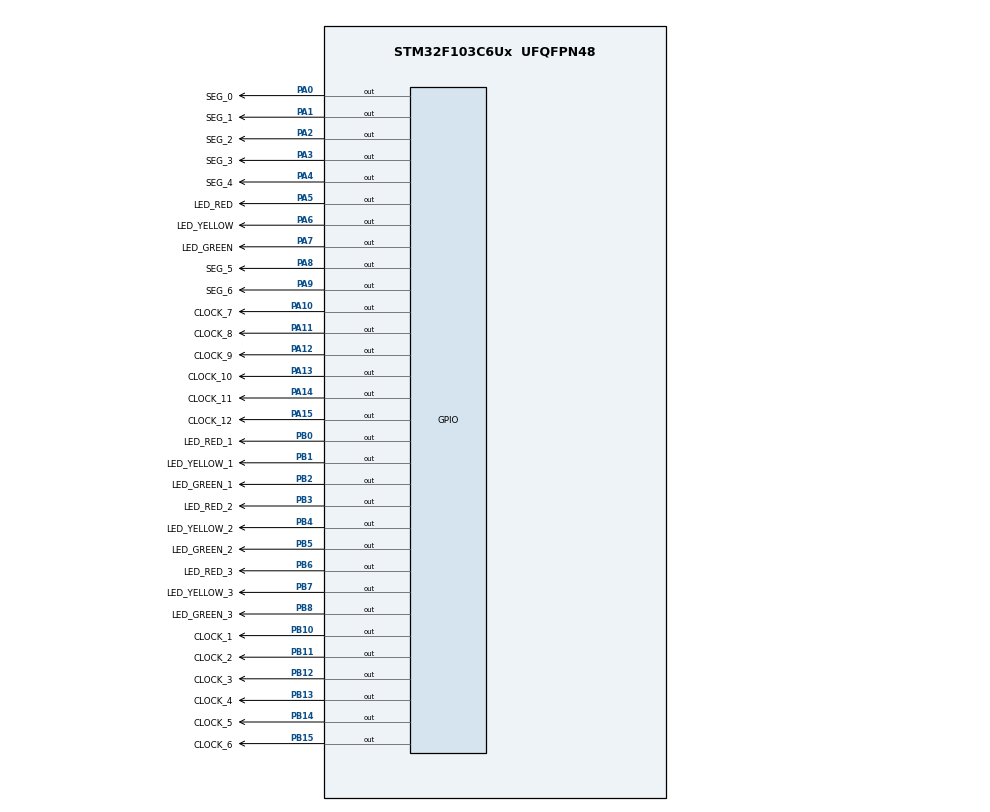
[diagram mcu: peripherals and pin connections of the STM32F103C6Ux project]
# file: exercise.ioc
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Mcu.Family=STM32F1
Mcu.Name=STM32F103C6Ux
Mcu.Package=UFQFPN48
NVIC.PriorityGroup=NVIC_PRIORITYGROUP_4
PA0-WKUP.GPIO_Label=SEG_0
PA0-WKUP.Signal=GPIO_Output
PA1.GPIO_Label=SEG_1
PA1.Signal=GPIO_Output
PA10.GPIO_Label=CLOCK_7
PA10.Signal=GPIO_Output
PA11.GPIO_Label=CLOCK_8
PA11.Signal=GPIO_Output
PA12.GPIO_Label=CLOCK_9
PA12.Signal=GPIO_Output
PA13.GPIO_Label=CLOCK_10
PA13.Signal=GPIO_Output
PA14.GPIO_Label=CLOCK_11
PA14.Signal=GPIO_Output
PA15.GPIO_Label=CLOCK_12
PA15.Signal=GPIO_Output
PA2.GPIO_Label=SEG_2
PA2.Signal=GPIO_Output
PA3.GPIO_Label=SEG_3
PA3.Signal=GPIO_Output
PA4.GPIO_Label=SEG_4
PA4.Signal=GPIO_Output
PA5.GPIO_Label=LED_RED
PA5.Signal=GPIO_Output
PA6.GPIO_Label=LED_YELLOW
PA6.Signal=GPIO_Output
PA7.GPIO_Label=LED_GREEN
PA7.Signal=GPIO_Output
PA8.GPIO_Label=SEG_5
PA8.Signal=GPIO_Output
PA9.GPIO_Label=SEG_6
PA9.Signal=GPIO_Output
PB0.GPIO_Label=LED_RED_1
PB0.Signal=GPIO_Output
PB1.GPIO_Label=LED_YELLOW_1
PB1.Signal=GPIO_Output
PB10.GPIO_Label=CLOCK_1
PB10.Signal=GPIO_Output
PB11.GPIO_Label=CLOCK_2
PB11.Signal=GPIO_Output
PB12.GPIO_Label=CLOCK_3
PB12.Signal=GPIO_Output
PB13.GPIO_Label=CLOCK_4
PB13.Signal=GPIO_Output
PB14.GPIO_Label=CLOCK_5
PB14.Signal=GPIO_Output
PB15.GPIO_Label=CLOCK_6
PB15.Signal=GPIO_Output
PB2.GPIO_Label=LED_GREEN_1
PB2.Signal=GPIO_Output
PB3.GPIO_Label=LED_RED_2
PB3.Signal=GPIO_Output
PB4.GPIO_Label=LED_YELLOW_2
PB4.Signal=GPIO_Output
PB5.GPIO_Label=LED_GREEN_2
PB5.Signal=GPIO_Output
PB6.GPIO_Label=LED_RED_3
PB6.Signal=GPIO_Output
PB7.GPIO_Label=LED_YELLOW_3
PB7.Signal=GPIO_Output
PB8.GPIO_Label=LED_GREEN_3
PB8.Signal=GPIO_Output
ProjectManager.HeapSize=0x200
ProjectManager.StackSize=0x400
ProjectManager.TargetToolchain=STM32CubeIDE
RCC.APB1Freq_Value=8000000
RCC.APB2Freq_Value=8000000
VP_SYS_VS_ND.Mode=No_Debug
board=custom

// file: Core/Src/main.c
/* USER CODE BEGIN Header */
/**
  ******************************************************************************
  * @file           : main.c
  * @brief          : Main program body
  ******************************************************************************
  * @attention
  *
  * <h2><center>&copy; Copyright (c) 2024 STMicroelectronics.
  * All rights reserved.</center></h2>
  *
  * This software component is licensed by ST under BSD 3-Clause license,
  * the "License"; You may not use this file except in compliance with the
  * License. You may obtain a copy of the License at:
  *                        opensource.org/licenses/BSD-3-Clause
  *
  ******************************************************************************
  */
/* USER CODE END Header */
#include "main.h"

void SystemClock_Config(void);
static void MX_GPIO_Init(void);

/* USER CODE BEGIN 0 */
void exercise1(){
	HAL_GPIO_TogglePin(LED_RED_GPIO_Port, LED_RED_Pin);
	HAL_Delay(2000);
	HAL_GPIO_TogglePin(LED_YELLOW_GPIO_Port, LED_YELLOW_Pin);
}

void exercise2(){
	//LED_RED
	HAL_GPIO_WritePin(LED_RED_GPIO_Port, LED_RED_Pin, SET);
	HAL_GPIO_WritePin(LED_YELLOW_GPIO_Port, LED_YELLOW_Pin, RESET);
	HAL_GPIO_WritePin(LED_GREEN_GPIO_Port, LED_GREEN_Pin, RESET);
	HAL_Delay(5000);

	//LED_YELLOW
	HAL_GPIO_WritePin(LED_RED_GPIO_Port, LED_RED_Pin, RESET);
	HAL_GPIO_WritePin(LED_YELLOW_GPIO_Port, LED_YELLOW_Pin, SET);
	HAL_GPIO_WritePin(LED_GREEN_GPIO_Port, LED_GREEN_Pin, RESET);
	HAL_Delay(2000);

	//LED_GREEN
	HAL_GPIO_WritePin(LED_RED_GPIO_Port, LED_RED_Pin, RESET);
	HAL_GPIO_WritePin(LED_YELLOW_GPIO_Port, LED_YELLOW_Pin, RESET);
	HAL_GPIO_WritePin(LED_GREEN_GPIO_Port, LED_GREEN_Pin, SET);
	HAL_Delay(3000);
}

void exercise3(){
	//LED_RED
	HAL_GPIO_WritePin(LED_RED_GPIO_Port, LED_RED_Pin, SET);
	HAL_GPIO_WritePin(LED_RED_1_GPIO_Port, LED_RED_1_Pin, SET);
	HAL_GPIO_WritePin(LED_RED_2_GPIO_Port, LED_RED_2_Pin, RESET);
	HAL_GPIO_WritePin(LED_RED_3_GPIO_Port, LED_RED_3_Pin, RESET);
	//YELLOW
	HAL_GPIO_WritePin(LED_YELLOW_GPIO_Port, LED_YELLOW_Pin, RESET);
	HAL_GPIO_WritePin(LED_YELLOW_1_GPIO_Port, LED_YELLOW_1_Pin, RESET);
	HAL_GPIO_WritePin(LED_YELLOW_2_GPIO_Port, LED_YELLOW_2_Pin, RESET);
	HAL_GPIO_WritePin(LED_YELLOW_3_GPIO_Port, LED_YELLOW_3_Pin, RESET);
	//GREEN
	HAL_GPIO_WritePin(LED_GREEN_GPIO_Port, LED_GREEN_Pin, RESET);
	HAL_GPIO_WritePin(LED_GREEN_1_GPIO_Port, LED_GREEN_1_Pin, RESET);
	HAL_GPIO_WritePin(LED_GREEN_2_GPIO_Port, LED_GREEN_2_Pin, RESET);
	HAL_GPIO_WritePin(LED_GREEN_3_GPIO_Port, LED_GREEN_3_Pin, RESET);
	HAL_Delay(5000);

	//RED
	HAL_GPIO_WritePin(LED_RED_GPIO_Port, LED_RED_Pin, RESET);
	HAL_GPIO_WritePin(LED_RED_1_GPIO_Port, LED_RED_1_Pin, RESET);
	HAL_GPIO_WritePin(LED_RED_2_GPIO_Port, LED_RED_2_Pin, RESET);
	HAL_GPIO_WritePin(LED_RED_3_GPIO_Port, LED_RED_3_Pin, RESET);
	//YELLOW
	HAL_GPIO_WritePin(LED_YELLOW_GPIO_Port, LED_YELLOW_Pin, SET);
	HAL_GPIO_WritePin(LED_YELLOW_1_GPIO_Port, LED_YELLOW_1_Pin, SET);
	HAL_GPIO_WritePin(LED_YELLOW_2_GPIO_Port, LED_YELLOW_2_Pin, RESET);
	HAL_GPIO_WritePin(LED_YELLOW_3_GPIO_Port, LED_YELLOW_3_Pin, RESET);
	//GREEN
	HAL_GPIO_WritePin(LED_GREEN_GPIO_Port, LED_GREEN_Pin, RESET);
	HAL_GPIO_WritePin(LED_GREEN_1_GPIO_Port, LED_GREEN_1_Pin, RESET);
	HAL_GPIO_WritePin(LED_GREEN_2_GPIO_Port, LED_GREEN_2_Pin, RESET);
	HAL_GPIO_WritePin(LED_GREEN_3_GPIO_Port, LED_GREEN_3_Pin, RESET);
	HAL_Delay(2000);

	//RED
	HAL_GPIO_WritePin(LED_RED_GPIO_Port, LED_RED_Pin, RESET);
	HAL_GPIO_WritePin(LED_RED_1_GPIO_Port, LED_RED_1_Pin, RESET);
	HAL_GPIO_WritePin(LED_RED_2_GPIO_Port, LED_RED_2_Pin, RESET);
	HAL_GPIO_WritePin(LED_RED_3_GPIO_Port, LED_RED_3_Pin, RESET);
	//YELLOW
	HAL_GPIO_WritePin(LED_YELLOW_GPIO_Port, LED_YELLOW_Pin, RESET);
	HAL_GPIO_WritePin(LED_YELLOW_1_GPIO_Port, LED_YELLOW_1_Pin, RESET);
	HAL_GPIO_WritePin(LED_YELLOW_2_GPIO_Port, LED_YELLOW_2_Pin, RESET);
	HAL_GPIO_WritePin(LED_YELLOW_3_GPIO_Port, LED_YELLOW_3_Pin, RESET);
	//GREEN
	HAL_GPIO_WritePin(LED_GREEN_GPIO_Port, LED_GREEN_Pin, SET);
	HAL_GPIO_WritePin(LED_GREEN_1_GPIO_Port, LED_GREEN_1_Pin, SET);
	HAL_GPIO_WritePin(LED_GREEN_2_GPIO_Port, LED_GREEN_2_Pin, RESET);
	HAL_GPIO_WritePin(LED_GREEN_3_GPIO_Port, LED_GREEN_3_Pin, RESET);
	HAL_Delay(3000);

	//LED_RED
	HAL_GPIO_WritePin(LED_RED_GPIO_Port, LED_RED_Pin, RESET);
	HAL_GPIO_WritePin(LED_RED_1_GPIO_Port, LED_RED_1_Pin, RESET);
	HAL_GPIO_WritePin(LED_RED_2_GPIO_Port, LED_RED_2_Pin, SET);
	HAL_GPIO_WritePin(LED_RED_3_GPIO_Port, LED_RED_3_Pin, SET);
	//YELLOW
	HAL_GPIO_WritePin(LED_YELLOW_GPIO_Port, LED_YELLOW_Pin, RESET);
	HAL_GPIO_WritePin(LED_YELLOW_1_GPIO_Port, LED_YELLOW_1_Pin, RESET);
	HAL_GPIO_WritePin(LED_YELLOW_2_GPIO_Port, LED_YELLOW_2_Pin, RESET);
	HAL_GPIO_WritePin(LED_YELLOW_3_GPIO_Port, LED_YELLOW_3_Pin, RESET);
	//GREEN
	HAL_GPIO_WritePin(LED_GREEN_GPIO_Port, LED_GREEN_Pin, RESET);
	HAL_GPIO_WritePin(LED_GREEN_1_GPIO_Port, LED_GREEN_1_Pin, RESET);
	HAL_GPIO_WritePin(LED_GREEN_2_GPIO_Port, LED_GREEN_2_Pin, RESET);
	HAL_GPIO_WritePin(LED_GREEN_3_GPIO_Port, LED_GREEN_3_Pin, RESET);
	HAL_Delay(5000);

	//RED
	HAL_GPIO_WritePin(LED_RED_GPIO_Port, LED_RED_Pin, RESET);
	HAL_GPIO_WritePin(LED_RED_1_GPIO_Port, LED_RED_1_Pin, RESET);
	HAL_GPIO_WritePin(LED_RED_2_GPIO_Port, LED_RED_2_Pin, RESET);
	HAL_GPIO_WritePin(LED_RED_3_GPIO_Port, LED_RED_3_Pin, RESET);
	//YELLOW
	HAL_GPIO_WritePin(LED_YELLOW_GPIO_Port, LED_YELLOW_Pin, RESET);
	HAL_GPIO_WritePin(LED_YELLOW_1_GPIO_Port, LED_YELLOW_1_Pin, RESET);
	HAL_GPIO_WritePin(LED_YELLOW_2_GPIO_Port, LED_YELLOW_2_Pin, SET);
	HAL_GPIO_WritePin(LED_YELLOW_3_GPIO_Port, LED_YELLOW_3_Pin, SET);
	//GREEN
	HAL_GPIO_WritePin(LED_GREEN_GPIO_Port, LED_GREEN_Pin, RESET);
	HAL_GPIO_WritePin(LED_GREEN_1_GPIO_Port, LED_GREEN_1_Pin, RESET);
	HAL_GPIO_WritePin(LED_GREEN_2_GPIO_Port, LED_GREEN_2_Pin, RESET);
	HAL_GPIO_WritePin(LED_GREEN_3_GPIO_Port, LED_GREEN_3_Pin, RESET);
	HAL_Delay(2000);

	//RED
	HAL_GPIO_WritePin(LED_RED_GPIO_Port, LED_RED_Pin, RESET);
	HAL_GPIO_WritePin(LED_RED_1_GPIO_Port, LED_RED_1_Pin, RESET);
	HAL_GPIO_WritePin(LED_RED_2_GPIO_Port, LED_RED_2_Pin, RESET);
	HAL_GPIO_WritePin(LED_RED_3_GPIO_Port, LED_RED_3_Pin, RESET);
	//YELLOW
	HAL_GPIO_WritePin(LED_YELLOW_GPIO_Port, LED_YELLOW_Pin, RESET);
	HAL_GPIO_WritePin(LED_YELLOW_1_GPIO_Port, LED_YELLOW_1_Pin, RESET);
	HAL_GPIO_WritePin(LED_YELLOW_2_GPIO_Port, LED_YELLOW_2_Pin, RESET);
	HAL_GPIO_WritePin(LED_YELLOW_3_GPIO_Port, LED_YELLOW_3_Pin, RESET);
	//GREEN
	HAL_GPIO_WritePin(LED_GREEN_GPIO_Port, LED_GREEN_Pin, RESET);
	HAL_GPIO_WritePin(LED_GREEN_1_GPIO_Port, LED_GREEN_1_Pin, RESET);
	HAL_GPIO_WritePin(LED_GREEN_2_GPIO_Port, LED_GREEN_2_Pin, SET);
	HAL_GPIO_WritePin(LED_GREEN_3_GPIO_Port, LED_GREEN_3_Pin, SET);
	HAL_Delay(3000);
}

void display7SEG(int num){
	switch(num){
	case 0:
		HAL_GPIO_WritePin(SEG_0_GPIO_Port, SEG_0_Pin, SET); //G
		HAL_GPIO_WritePin(SEG_1_GPIO_Port, SEG_1_Pin, RESET); //C
		HAL_GPIO_WritePin(SEG_2_GPIO_Port, SEG_2_Pin, RESET); //B
		HAL_GPIO_WritePin(SEG_3_GPIO_Port, SEG_3_Pin, RESET); //A
		HAL_GPIO_WritePin(SEG_4_GPIO_Port, SEG_4_Pin, RESET); //F
		HAL_GPIO_WritePin(SEG_5_GPIO_Port, SEG_5_Pin, RESET); //E
		HAL_GPIO_WritePin(SEG_6_GPIO_Port, SEG_6_Pin, RESET); //D
		break;
	case 1:
			HAL_GPIO_WritePin(SEG_0_GPIO_Port, SEG_0_Pin, SET);
			HAL_GPIO_WritePin(SEG_1_GPIO_Port, SEG_1_Pin, RESET);
			HAL_GPIO_WritePin(SEG_2_GPIO_Port, SEG_2_Pin, RESET);
			HAL_GPIO_WritePin(SEG_3_GPIO_Port, SEG_3_Pin, SET);
			HAL_GPIO_WritePin(SEG_4_GPIO_Port, SEG_4_Pin, SET);
			HAL_GPIO_WritePin(SEG_5_GPIO_Port, SEG_5_Pin, SET);
			HAL_GPIO_WritePin(SEG_6_GPIO_Port, SEG_6_Pin, SET);
			break;

	case 2:
			HAL_GPIO_WritePin(SEG_0_GPIO_Port, SEG_0_Pin, RESET); //G
			HAL_GPIO_WritePin(SEG_1_GPIO_Port, SEG_1_Pin, SET); //C
			HAL_GPIO_WritePin(SEG_2_GPIO_Port, SEG_2_Pin, RESET); //B
			HAL_GPIO_WritePin(SEG_3_GPIO_Port, SEG_3_Pin, RESET); //A
			HAL_GPIO_WritePin(SEG_4_GPIO_Port, SEG_4_Pin, SET); //F
			HAL_GPIO_WritePin(SEG_5_GPIO_Port, SEG_5_Pin, RESET); //E
			HAL_GPIO_WritePin(SEG_6_GPIO_Port, SEG_6_Pin, RESET); //D
			break;

	case 3:
			HAL_GPIO_WritePin(SEG_0_GPIO_Port, SEG_0_Pin, RESET);
			HAL_GPIO_WritePin(SEG_1_GPIO_Port, SEG_1_Pin, RESET);
			HAL_GPIO_WritePin(SEG_2_GPIO_Port, SEG_2_Pin, RESET);
			HAL_GPIO_WritePin(SEG_3_GPIO_Port, SEG_3_Pin, RESET);
			HAL_GPIO_WritePin(SEG_4_GPIO_Port, SEG_4_Pin, SET);
			HAL_GPIO_WritePin(SEG_5_GPIO_Port, SEG_5_Pin, SET);
			HAL_GPIO_WritePin(SEG_6_GPIO_Port, SEG_6_Pin, RESET);
			break;
	case 4:
			HAL_GPIO_WritePin(SEG_0_GPIO_Port, SEG_0_Pin, RESET); //G
			HAL_GPIO_WritePin(SEG_1_GPIO_Port, SEG_1_Pin, RESET); //C
			HAL_GPIO_WritePin(SEG_2_GPIO_Port, SEG_2_Pin, RESET); //B
			HAL_GPIO_WritePin(SEG_3_GPIO_Port, SEG_3_Pin, SET); //A
			HAL_GPIO_WritePin(SEG_4_GPIO_Port, SEG_4_Pin, RESET); //F
			HAL_GPIO_WritePin(SEG_5_GPIO_Port, SEG_5_Pin, SET); //E
			HAL_GPIO_WritePin(SEG_6_GPIO_Port, SEG_6_Pin, SET); //D
			break;
	case 5:
			HAL_GPIO_WritePin(SEG_0_GPIO_Port, SEG_0_Pin, RESET); //G
			HAL_GPIO_WritePin(SEG_1_GPIO_Port, SEG_1_Pin, RESET); //C
			HAL_GPIO_WritePin(SEG_2_GPIO_Port, SEG_2_Pin, SET); //B
			HAL_GPIO_WritePin(SEG_3_GPIO_Port, SEG_3_Pin, RESET); //A
			HAL_GPIO_WritePin(SEG_4_GPIO_Port, SEG_4_Pin, RESET); //F
			HAL_GPIO_WritePin(SEG_5_GPIO_Port, SEG_5_Pin, SET); //E
			HAL_GPIO_WritePin(SEG_6_GPIO_Port, SEG_6_Pin, RESET); //D
			break;
	case 6:
			HAL_GPIO_WritePin(SEG_0_GPIO_Port, SEG_0_Pin, RESET); //G
			HAL_GPIO_WritePin(SEG_1_GPIO_Port, SEG_1_Pin, RESET); //C
			HAL_GPIO_WritePin(SEG_2_GPIO_Port, SEG_2_Pin, SET); //B
			HAL_GPIO_WritePin(SEG_3_GPIO_Port, SEG_3_Pin, RESET); //A
			HAL_GPIO_WritePin(SEG_4_GPIO_Port, SEG_4_Pin, RESET); //F
			HAL_GPIO_WritePin(SEG_5_GPIO_Port, SEG_5_Pin, RESET); //E
			HAL_GPIO_WritePin(SEG_6_GPIO_Port, SEG_6_Pin, RESET); //D
			break;
	case 7:
			HAL_GPIO_WritePin(SEG_0_GPIO_Port, SEG_0_Pin, SET); //G
			HAL_GPIO_WritePin(SEG_1_GPIO_Port, SEG_1_Pin, RESET); //C
			HAL_GPIO_WritePin(SEG_2_GPIO_Port, SEG_2_Pin, RESET); //B
			HAL_GPIO_WritePin(SEG_3_GPIO_Port, SEG_3_Pin, RESET); //A
			HAL_GPIO_WritePin(SEG_4_GPIO_Port, SEG_4_Pin, SET); //F
			HAL_GPIO_WritePin(SEG_5_GPIO_Port, SEG_5_Pin, SET); //E
			HAL_GPIO_WritePin(SEG_6_GPIO_Port, SEG_6_Pin, SET); //D
			break;
	case 8:
			HAL_GPIO_WritePin(SEG_0_GPIO_Port, SEG_0_Pin, RESET); //G
			HAL_GPIO_WritePin(SEG_1_GPIO_Port, SEG_1_Pin, RESET); //C
			HAL_GPIO_WritePin(SEG_2_GPIO_Port, SEG_2_Pin, RESET); //B
			HAL_GPIO_WritePin(SEG_3_GPIO_Port, SEG_3_Pin, RESET); //A
			HAL_GPIO_WritePin(SEG_4_GPIO_Port, SEG_4_Pin, RESET); //F
			HAL_GPIO_WritePin(SEG_5_GPIO_Port, SEG_5_Pin, RESET); //E
			HAL_GPIO_WritePin(SEG_6_GPIO_Port, SEG_6_Pin, RESET); //D
			break;
	case 9:
			HAL_GPIO_WritePin(SEG_0_GPIO_Port, SEG_0_Pin, RESET); //G
			HAL_GPIO_WritePin(SEG_1_GPIO_Port, SEG_1_Pin, RESET); //C
			HAL_GPIO_WritePin(SEG_2_GPIO_Port, SEG_2_Pin, RESET); //B
			HAL_GPIO_WritePin(SEG_3_GPIO_Port, SEG_3_Pin, RESET); //A
			HAL_GPIO_WritePin(SEG_4_GPIO_Port, SEG_4_Pin, RESET); //F
			HAL_GPIO_WritePin(SEG_5_GPIO_Port, SEG_5_Pin, SET); //E
			HAL_GPIO_WritePin(SEG_6_GPIO_Port, SEG_6_Pin, RESET); //D
			break;
	default:
		HAL_GPIO_WritePin(SEG_0_GPIO_Port, SEG_0_Pin, SET);
		HAL_GPIO_WritePin(SEG_1_GPIO_Port, SEG_1_Pin, SET);
		HAL_GPIO_WritePin(SEG_2_GPIO_Port, SEG_2_Pin, SET);
		HAL_GPIO_WritePin(SEG_3_GPIO_Port, SEG_3_Pin, SET);
		HAL_GPIO_WritePin(SEG_4_GPIO_Port, SEG_4_Pin, SET);
		HAL_GPIO_WritePin(SEG_5_GPIO_Port, SEG_5_Pin, SET);
		HAL_GPIO_WritePin(SEG_6_GPIO_Port, SEG_6_Pin, SET);
		break;
	}
}

void display7Segcountdown(int num){
	switch(num){
		case 9:
				HAL_GPIO_WritePin(SEG_0_GPIO_Port, SEG_0_Pin, RESET); //G
				HAL_GPIO_WritePin(SEG_1_GPIO_Port, SEG_1_Pin, RESET); //C
				HAL_GPIO_WritePin(SEG_2_GPIO_Port, SEG_2_Pin, RESET); //B
				HAL_GPIO_WritePin(SEG_3_GPIO_Port, SEG_3_Pin, RESET); //A
				HAL_GPIO_WritePin(SEG_4_GPIO_Port, SEG_4_Pin, RESET); //F
				HAL_GPIO_WritePin(SEG_5_GPIO_Port, SEG_5_Pin, SET); //E
				HAL_GPIO_WritePin(SEG_6_GPIO_Port, SEG_6_Pin, RESET); //D
				break;

		case 8:
				HAL_GPIO_WritePin(SEG_0_GPIO_Port, SEG_0_Pin, RESET); //G
				HAL_GPIO_WritePin(SEG_1_GPIO_Port, SEG_1_Pin, RESET); //C
				HAL_GPIO_WritePin(SEG_2_GPIO_Port, SEG_2_Pin, RESET); //B
				HAL_GPIO_WritePin(SEG_3_GPIO_Port, SEG_3_Pin, RESET); //A
				HAL_GPIO_WritePin(SEG_4_GPIO_Port, SEG_4_Pin, RESET); //F
				HAL_GPIO_WritePin(SEG_5_GPIO_Port, SEG_5_Pin, RESET); //E
				HAL_GPIO_WritePin(SEG_6_GPIO_Port, SEG_6_Pin, RESET); //D
				break;
		case 7:
				HAL_GPIO_WritePin(SEG_0_GPIO_Port, SEG_0_Pin, SET); //G
				HAL_GPIO_WritePin(SEG_1_GPIO_Port, SEG_1_Pin, RESET); //C
				HAL_GPIO_WritePin(SEG_2_GPIO_Port, SEG_2_Pin, RESET); //B
				HAL_GPIO_WritePin(SEG_3_GPIO_Port, SEG_3_Pin, RESET); //A
				HAL_GPIO_WritePin(SEG_4_GPIO_Port, SEG_4_Pin, SET); //F
				HAL_GPIO_WritePin(SEG_5_GPIO_Port, SEG_5_Pin, SET); //E
				HAL_GPIO_WritePin(SEG_6_GPIO_Port, SEG_6_Pin, SET); //D
				break;
		case 6:
				HAL_GPIO_WritePin(SEG_0_GPIO_Port, SEG_0_Pin, RESET); //G
				HAL_GPIO_WritePin(SEG_1_GPIO_Port, SEG_1_Pin, RESET); //C
				HAL_GPIO_WritePin(SEG_2_GPIO_Port, SEG_2_Pin, SET); //B
				HAL_GPIO_WritePin(SEG_3_GPIO_Port, SEG_3_Pin, RESET); //A
				HAL_GPIO_WritePin(SEG_4_GPIO_Port, SEG_4_Pin, RESET); //F
				HAL_GPIO_WritePin(SEG_5_GPIO_Port, SEG_5_Pin, RESET); //E
				HAL_GPIO_WritePin(SEG_6_GPIO_Port, SEG_6_Pin, RESET); //D
				break;
		case 5:
				HAL_GPIO_WritePin(SEG_0_GPIO_Port, SEG_0_Pin, RESET); //G
				HAL_GPIO_WritePin(SEG_1_GPIO_Port, SEG_1_Pin, RESET); //C
				HAL_GPIO_WritePin(SEG_2_GPIO_Port, SEG_2_Pin, SET); //B
				HAL_GPIO_WritePin(SEG_3_GPIO_Port, SEG_3_Pin, RESET); //A
				HAL_GPIO_WritePin(SEG_4_GPIO_Port, SEG_4_Pin, RESET); //F
				HAL_GPIO_WritePin(SEG_5_GPIO_Port, SEG_5_Pin, SET); //E
				HAL_GPIO_WritePin(SEG_6_GPIO_Port, SEG_6_Pin, RESET); //D
				break;
		case 4:
				HAL_GPIO_WritePin(SEG_0_GPIO_Port, SEG_0_Pin, RESET); //G
				HAL_GPIO_WritePin(SEG_1_GPIO_Port, SEG_1_Pin, RESET); //C
				HAL_GPIO_WritePin(SEG_2_GPIO_Port, SEG_2_Pin, RESET); //B
				HAL_GPIO_WritePin(SEG_3_GPIO_Port, SEG_3_Pin, SET); //A
				HAL_GPIO_WritePin(SEG_4_GPIO_Port, SEG_4_Pin, RESET); //F
				HAL_GPIO_WritePin(SEG_5_GPIO_Port, SEG_5_Pin, SET); //E
				HAL_GPIO_WritePin(SEG_6_GPIO_Port, SEG_6_Pin, SET); //D
				break;
		case 3:
				HAL_GPIO_WritePin(SEG_0_GPIO_Port, SEG_0_Pin, RESET);
				HAL_GPIO_WritePin(SEG_1_GPIO_Port, SEG_1_Pin, RESET);
				HAL_GPIO_WritePin(SEG_2_GPIO_Port, SEG_2_Pin, RESET);
				HAL_GPIO_WritePin(SEG_3_GPIO_Port, SEG_3_Pin, RESET);
				HAL_GPIO_WritePin(SEG_4_GPIO_Port, SEG_4_Pin, SET);
				HAL_GPIO_WritePin(SEG_5_GPIO_Port, SEG_5_Pin, SET);
				HAL_GPIO_WritePin(SEG_6_GPIO_Port, SEG_6_Pin, RESET);
				break;
		case 2:
				HAL_GPIO_WritePin(SEG_0_GPIO_Port, SEG_0_Pin, RESET); //G
				HAL_GPIO_WritePin(SEG_1_GPIO_Port, SEG_1_Pin, SET); //C
				HAL_GPIO_WritePin(SEG_2_GPIO_Port, SEG_2_Pin, RESET); //B
				HAL_GPIO_WritePin(SEG_3_GPIO_Port, SEG_3_Pin, RESET); //A
				HAL_GPIO_WritePin(SEG_4_GPIO_Port, SEG_4_Pin, SET); //F
				HAL_GPIO_WritePin(SEG_5_GPIO_Port, SEG_5_Pin, RESET); //E
				HAL_GPIO_WritePin(SEG_6_GPIO_Port, SEG_6_Pin, RESET); //D
				break;
		case 1:
				HAL_GPIO_WritePin(SEG_0_GPIO_Port, SEG_0_Pin, SET);
				HAL_GPIO_WritePin(SEG_1_GPIO_Port, SEG_1_Pin, RESET);
				HAL_GPIO_WritePin(SEG_2_GPIO_Port, SEG_2_Pin, RESET);
				HAL_GPIO_WritePin(SEG_3_GPIO_Port, SEG_3_Pin, SET);
				HAL_GPIO_WritePin(SEG_4_GPIO_Port, SEG_4_Pin, SET);
				HAL_GPIO_WritePin(SEG_5_GPIO_Port, SEG_5_Pin, SET);
				HAL_GPIO_WritePin(SEG_6_GPIO_Port, SEG_6_Pin, SET);
				break;
		case 0:
				HAL_GPIO_WritePin(SEG_0_GPIO_Port, SEG_0_Pin, SET); //G
				HAL_GPIO_WritePin(SEG_1_GPIO_Port, SEG_1_Pin, RESET); //C
				HAL_GPIO_WritePin(SEG_2_GPIO_Port, SEG_2_Pin, RESET); //B
				HAL_GPIO_WritePin(SEG_3_GPIO_Port, SEG_3_Pin, RESET); //A
				HAL_GPIO_WritePin(SEG_4_GPIO_Port, SEG_4_Pin, RESET); //F
				HAL_GPIO_WritePin(SEG_5_GPIO_Port, SEG_5_Pin, RESET); //E
				HAL_GPIO_WritePin(SEG_6_GPIO_Port, SEG_6_Pin, RESET); //D
			break;

	default:
		HAL_GPIO_WritePin(SEG_0_GPIO_Port, SEG_0_Pin, SET);
		HAL_GPIO_WritePin(SEG_1_GPIO_Port, SEG_1_Pin, SET);
		HAL_GPIO_WritePin(SEG_2_GPIO_Port, SEG_2_Pin, SET);
		HAL_GPIO_WritePin(SEG_3_GPIO_Port, SEG_3_Pin, SET);
		HAL_GPIO_WritePin(SEG_4_GPIO_Port, SEG_4_Pin, SET);
		HAL_GPIO_WritePin(SEG_5_GPIO_Port, SEG_5_Pin, SET);
		HAL_GPIO_WritePin(SEG_6_GPIO_Port, SEG_6_Pin, SET);
		break;
	}
}

void exercise5(){
	for(int i=5; i>=0; i--){
		display7SEG(i);
		//LED_RED
		HAL_GPIO_WritePin(LED_RED_GPIO_Port, LED_RED_Pin, SET);
		HAL_GPIO_WritePin(LED_RED_1_GPIO_Port, LED_RED_1_Pin, SET);
		HAL_GPIO_WritePin(LED_RED_2_GPIO_Port, LED_RED_2_Pin, RESET);
		HAL_GPIO_WritePin(LED_RED_3_GPIO_Port, LED_RED_3_Pin, RESET);
		//YELLOW
		HAL_GPIO_WritePin(LED_YELLOW_GPIO_Port, LED_YELLOW_Pin, RESET);
		HAL_GPIO_WritePin(LED_YELLOW_1_GPIO_Port, LED_YELLOW_1_Pin, RESET);
		HAL_GPIO_WritePin(LED_YELLOW_2_GPIO_Port, LED_YELLOW_2_Pin, RESET);
		HAL_GPIO_WritePin(LED_YELLOW_3_GPIO_Port, LED_YELLOW_3_Pin, RESET);
		//GREEN
		HAL_GPIO_WritePin(LED_GREEN_GPIO_Port, LED_GREEN_Pin, RESET);
		HAL_GPIO_WritePin(LED_GREEN_1_GPIO_Port, LED_GREEN_1_Pin, RESET);
		HAL_GPIO_WritePin(LED_GREEN_2_GPIO_Port, LED_GREEN_2_Pin, SET);
		HAL_GPIO_WritePin(LED_GREEN_3_GPIO_Port, LED_GREEN_3_Pin, SET);
		if(i<3){
			//LED_RED
			HAL_GPIO_WritePin(LED_RED_GPIO_Port, LED_RED_Pin, SET);
			HAL_GPIO_WritePin(LED_RED_1_GPIO_Port, LED_RED_1_Pin, SET);
			HAL_GPIO_WritePin(LED_RED_2_GPIO_Port, LED_RED_2_Pin, RESET);
			HAL_GPIO_WritePin(LED_RED_3_GPIO_Port, LED_RED_3_Pin, RESET);
			//YELLOW
			HAL_GPIO_WritePin(LED_YELLOW_GPIO_Port, LED_YELLOW_Pin, RESET);
			HAL_GPIO_WritePin(LED_YELLOW_1_GPIO_Port, LED_YELLOW_1_Pin, RESET);
			HAL_GPIO_WritePin(LED_YELLOW_2_GPIO_Port, LED_YELLOW_2_Pin, SET);
			HAL_GPIO_WritePin(LED_YELLOW_3_GPIO_Port, LED_YELLOW_3_Pin, SET);
			//GREEN
			HAL_GPIO_WritePin(LED_GREEN_GPIO_Port, LED_GREEN_Pin, RESET);
			HAL_GPIO_WritePin(LED_GREEN_1_GPIO_Port, LED_GREEN_1_Pin, RESET);
			HAL_GPIO_WritePin(LED_GREEN_2_GPIO_Port, LED_GREEN_2_Pin, RESET);
			HAL_GPIO_WritePin(LED_GREEN_3_GPIO_Port, LED_GREEN_3_Pin, RESET);
		}
		HAL_Delay(1000);
	}

//	for(int i=3; i>=0; i--){
//		display7SEG(i);
//		//RED
//		HAL_GPIO_WritePin(LED_RED_GPIO_Port, LED_RED_Pin, RESET);
//		HAL_GPIO_WritePin(LED_RED_1_GPIO_Port, LED_RED_1_Pin, RESET);
//		HAL_GPIO_WritePin(LED_RED_2_GPIO_Port, LED_RED_2_Pin, SET);
//		HAL_GPIO_WritePin(LED_RED_3_GPIO_Port, LED_RED_3_Pin, SET);
//		//YELLOW
//		HAL_GPIO_WritePin(LED_YELLOW_GPIO_Port, LED_YELLOW_Pin, RESET);
//		HAL_GPIO_WritePin(LED_YELLOW_1_GPIO_Port, LED_YELLOW_1_Pin, RESET);
//		HAL_GPIO_WritePin(LED_YELLOW_2_GPIO_Port, LED_YELLOW_2_Pin, RESET);
//		HAL_GPIO_WritePin(LED_YELLOW_3_GPIO_Port, LED_YELLOW_3_Pin, RESET);
//		//GREEN
//		HAL_GPIO_WritePin(LED_GREEN_GPIO_Port, LED_GREEN_Pin, SET);
//		HAL_GPIO_WritePin(LED_GREEN_1_GPIO_Port, LED_GREEN_1_Pin, SET);
//		HAL_GPIO_WritePin(LED_GREEN_2_GPIO_Port, LED_GREEN_2_Pin, RESET);
//		HAL_GPIO_WritePin(LED_GREEN_3_GPIO_Port, LED_GREEN_3_Pin, RESET);
//		HAL_Delay(1000);
//	}

	for(int i=5; i>=0; i--){
		display7SEG(i);
		//LED_RED
		HAL_GPIO_WritePin(LED_RED_GPIO_Port, LED_RED_Pin, RESET);
		HAL_GPIO_WritePin(LED_RED_1_GPIO_Port, LED_RED_1_Pin, RESET);
		HAL_GPIO_WritePin(LED_RED_2_GPIO_Port, LED_RED_2_Pin, SET);
		HAL_GPIO_WritePin(LED_RED_3_GPIO_Port, LED_RED_3_Pin, SET);
		//YELLOW
		HAL_GPIO_WritePin(LED_YELLOW_GPIO_Port, LED_YELLOW_Pin, RESET);
		HAL_GPIO_WritePin(LED_YELLOW_1_GPIO_Port, LED_YELLOW_1_Pin, RESET);
		HAL_GPIO_WritePin(LED_YELLOW_2_GPIO_Port, LED_YELLOW_2_Pin, RESET);
		HAL_GPIO_WritePin(LED_YELLOW_3_GPIO_Port, LED_YELLOW_3_Pin, RESET);
		//GREEN
		HAL_GPIO_WritePin(LED_GREEN_GPIO_Port, LED_GREEN_Pin, SET);
		HAL_GPIO_WritePin(LED_GREEN_1_GPIO_Port, LED_GREEN_1_Pin, SET);
		HAL_GPIO_WritePin(LED_GREEN_2_GPIO_Port, LED_GREEN_2_Pin, RESET);
		HAL_GPIO_WritePin(LED_GREEN_3_GPIO_Port, LED_GREEN_3_Pin, RESET);

		if(i<3){
			//LED_RED
					HAL_GPIO_WritePin(LED_RED_GPIO_Port, LED_RED_Pin, RESET);
					HAL_GPIO_WritePin(LED_RED_1_GPIO_Port, LED_RED_1_Pin, RESET);
					HAL_GPIO_WritePin(LED_RED_2_GPIO_Port, LED_RED_2_Pin, SET);
					HAL_GPIO_WritePin(LED_RED_3_GPIO_Port, LED_RED_3_Pin, SET);
					//YELLOW
					HAL_GPIO_WritePin(LED_YELLOW_GPIO_Port, LED_YELLOW_Pin, SET);
					HAL_GPIO_WritePin(LED_YELLOW_1_GPIO_Port, LED_YELLOW_1_Pin, SET);
					HAL_GPIO_WritePin(LED_YELLOW_2_GPIO_Port, LED_YELLOW_2_Pin, RESET);
					HAL_GPIO_WritePin(LED_YELLOW_3_GPIO_Port, LED_YELLOW_3_Pin, RESET);
					//GREEN
					HAL_GPIO_WritePin(LED_GREEN_GPIO_Port, LED_GREEN_Pin, RESET);
					HAL_GPIO_WritePin(LED_GREEN_1_GPIO_Port, LED_GREEN_1_Pin, RESET);
					HAL_GPIO_WritePin(LED_GREEN_2_GPIO_Port, LED_GREEN_2_Pin, RESET);
					HAL_GPIO_WritePin(LED_GREEN_3_GPIO_Port, LED_GREEN_3_Pin, RESET);
		}

		HAL_Delay(1000);
	}

//	for(int i=3; i>=0; i--){
//		display7SEG(i);
//		//RED
//		HAL_GPIO_WritePin(LED_RED_GPIO_Port, LED_RED_Pin, SET);
//		HAL_GPIO_WritePin(LED_RED_1_GPIO_Port, LED_RED_1_Pin, SET);
//		HAL_GPIO_WritePin(LED_RED_2_GPIO_Port, LED_RED_2_Pin, RESET);
//		HAL_GPIO_WritePin(LED_RED_3_GPIO_Port, LED_RED_3_Pin, RESET);
//		//YELLOW
//		HAL_GPIO_WritePin(LED_YELLOW_GPIO_Port, LED_YELLOW_Pin, RESET);
//		HAL_GPIO_WritePin(LED_YELLOW_1_GPIO_Port, LED_YELLOW_1_Pin, RESET);
//		HAL_GPIO_WritePin(LED_YELLOW_2_GPIO_Port, LED_YELLOW_2_Pin, RESET);
//		HAL_GPIO_WritePin(LED_YELLOW_3_GPIO_Port, LED_YELLOW_3_Pin, RESET);
//		//GREEN
//		HAL_GPIO_WritePin(LED_GREEN_GPIO_Port, LED_GREEN_Pin, RESET);
//		HAL_GPIO_WritePin(LED_GREEN_1_GPIO_Port, LED_GREEN_1_Pin, RESET);
//		HAL_GPIO_WritePin(LED_GREEN_2_GPIO_Port, LED_GREEN_2_Pin, SET);
//		HAL_GPIO_WritePin(LED_GREEN_3_GPIO_Port, LED_GREEN_3_Pin, SET);
//		HAL_Delay(1000);
//	}
}

void clearAllClock(){
	HAL_GPIO_WritePin(CLOCK_1_GPIO_Port, CLOCK_1_Pin, RESET);
	HAL_GPIO_WritePin(CLOCK_2_GPIO_Port, CLOCK_2_Pin, RESET);
	HAL_GPIO_WritePin(CLOCK_3_GPIO_Port, CLOCK_3_Pin, RESET);
	HAL_GPIO_WritePin(CLOCK_4_GPIO_Port, CLOCK_4_Pin, RESET);
	HAL_GPIO_WritePin(CLOCK_5_GPIO_Port, CLOCK_5_Pin, RESET);
	HAL_GPIO_WritePin(CLOCK_6_GPIO_Port, CLOCK_6_Pin, RESET);
	HAL_GPIO_WritePin(CLOCK_7_GPIO_Port, CLOCK_7_Pin, RESET);
	HAL_GPIO_WritePin(CLOCK_8_GPIO_Port, CLOCK_8_Pin, RESET);
	HAL_GPIO_WritePin(CLOCK_9_GPIO_Port, CLOCK_9_Pin, RESET);
	HAL_GPIO_WritePin(CLOCK_10_GPIO_Port, CLOCK_10_Pin, RESET);
	HAL_GPIO_WritePin(CLOCK_11_GPIO_Port, CLOCK_11_Pin, RESET);
	HAL_GPIO_WritePin(CLOCK_12_GPIO_Port, CLOCK_12_Pin, RESET);
}

void setNumberOnClock(int num){
	switch(num){
	case 1:
		HAL_GPIO_WritePin(CLOCK_1_GPIO_Port, CLOCK_1_Pin, SET);
		break;
	case 2:
		HAL_GPIO_WritePin(CLOCK_2_GPIO_Port, CLOCK_2_Pin, SET);
		break;
	case 3:
		HAL_GPIO_WritePin(CLOCK_3_GPIO_Port, CLOCK_3_Pin, SET);
		break;

	case 4:
		HAL_GPIO_WritePin(CLOCK_4_GPIO_Port, CLOCK_4_Pin, SET);
		break;

	case 5:
		HAL_GPIO_WritePin(CLOCK_5_GPIO_Port, CLOCK_5_Pin, SET);
		break;

	case 6:
		HAL_GPIO_WritePin(CLOCK_6_GPIO_Port, CLOCK_6_Pin, SET);
		break;

	case 7:
		HAL_GPIO_WritePin(CLOCK_7_GPIO_Port, CLOCK_7_Pin, SET);
		break;

	case 8:
		HAL_GPIO_WritePin(CLOCK_8_GPIO_Port, CLOCK_8_Pin, SET);
		break;

	case 9:
		HAL_GPIO_WritePin(CLOCK_9_GPIO_Port, CLOCK_9_Pin, SET);
		break;

	case 10:
		HAL_GPIO_WritePin(CLOCK_10_GPIO_Port, CLOCK_10_Pin, SET);
		break;

	case 11:
		HAL_GPIO_WritePin(CLOCK_11_GPIO_Port, CLOCK_11_Pin, SET);
		break;

	case 0:
		HAL_GPIO_WritePin(CLOCK_12_GPIO_Port, CLOCK_12_Pin, SET);
		break;

	}
}

void clearNumberOnClock(int num){
	switch(num){
	case 1:
		HAL_GPIO_WritePin(CLOCK_1_GPIO_Port, CLOCK_1_Pin, RESET);
		break;
	case 2:
		HAL_GPIO_WritePin(CLOCK_2_GPIO_Port, CLOCK_2_Pin, RESET);
		break;
	case 3:
		HAL_GPIO_WritePin(CLOCK_3_GPIO_Port, CLOCK_3_Pin, RESET);
		break;

	case 4:
		HAL_GPIO_WritePin(CLOCK_4_GPIO_Port, CLOCK_4_Pin, RESET);
		break;

	case 5:
		HAL_GPIO_WritePin(CLOCK_5_GPIO_Port, CLOCK_5_Pin, RESET);
		break;

	case 6:
		HAL_GPIO_WritePin(CLOCK_6_GPIO_Port, CLOCK_6_Pin, RESET);
		break;

	case 7:
		HAL_GPIO_WritePin(CLOCK_7_GPIO_Port, CLOCK_7_Pin, RESET);
		break;

	case 8:
		HAL_GPIO_WritePin(CLOCK_8_GPIO_Port, CLOCK_8_Pin, RESET);
		break;

	case 9:
		HAL_GPIO_WritePin(CLOCK_9_GPIO_Port, CLOCK_9_Pin, RESET);
		break;

	case 10:
		HAL_GPIO_WritePin(CLOCK_10_GPIO_Port, CLOCK_10_Pin, RESET);
		break;

	case 11:
		HAL_GPIO_WritePin(CLOCK_11_GPIO_Port, CLOCK_11_Pin, RESET);
		break;

	case 0:
		HAL_GPIO_WritePin(CLOCK_12_GPIO_Port, CLOCK_12_Pin, RESET);
		break;
	}
}

//void exercise10(int hour, int minute, int second){
////	for(int i=0; i<=12; i++){
////		if(second>=12) second = 0;
////		if(minute>=12) minute = 0;
////		setNumberOnClock(minute);
////		if(hour>=12) hour = 0;
////		setNumberOnClock(hour);
////		HAL_Delay(1000);
////		second++;
////		for(int j=0; j<=12; j++){
////			minute++;
////			for(int k=0; k<=12; k++){
////				hour++;
////			}
////		}
////		HAL_Delay(1000);
////	}
//
//
//
//
//}

/* USER CODE END 0 */

int main(void)
{

  /* MCU Configuration--------------------------------------------------------*/

  /* Reset of all peripherals, Initializes the Flash interface and the Systick. */
  HAL_Init();

  /* Configure the system clock */
  SystemClock_Config();

  /* Initialize all configured peripherals */
  MX_GPIO_Init();

  /* Infinite loop */
  /* USER CODE BEGIN WHILE */
//  int counter = 0;
	int hour = 0 , minute = 0, second = 0;
  while (1)
  {
//	  exercise1();
//	  exercise2();
//	  exercise3();

//	  exercise4;
//		 if(counter>=10) counter = 0;
//		 display7SEG(counter++);
//		 HAL_Delay(1000);

	  exercise5();

//exercise 7
//	  clearAllClock();
//	  if(second>=12) second = 0;
//	  setNumberOnClock(second++);
//	  HAL_Delay(1000);
//exercise 10
//	 exercise10(hour,minute, second);
//	  second = second+1;
//	  if(second >= 60){
//			second = 0;
//			minute = minute+1;
//		}
//		if(minute >= 60){
//			minute = 0;
//			hour = hour+1 ;
//		}
//		if(hour>=12){
//			hour = 0;
//		}
//		clearAllClock();
//
//		setNumberOnClock(second/5);
//		setNumberOnClock(minute/5);
//		setNumberOnClock(hour);
//		HAL_Delay(10);
    /* USER CODE END WHILE */

  }
}

void SystemClock_Config(void)
{
  RCC_OscInitTypeDef RCC_OscInitStruct = {0};
  RCC_ClkInitTypeDef RCC_ClkInitStruct = {0};

  /** Initializes the RCC Oscillators according to the specified parameters
  * in the RCC_OscInitTypeDef structure.
  */
  RCC_OscInitStruct.OscillatorType = RCC_OSCILLATORTYPE_HSI;
  RCC_OscInitStruct.HSIState = RCC_HSI_ON;
  RCC_OscInitStruct.HSICalibrationValue = RCC_HSICALIBRATION_DEFAULT;
  RCC_OscInitStruct.PLL.PLLState = RCC_PLL_NONE;
  if (HAL_RCC_OscConfig(&RCC_OscInitStruct) != HAL_OK)
  {
    Error_Handler();
  }
  /** Initializes the CPU, AHB and APB buses clocks
  */
  RCC_ClkInitStruct.ClockType = RCC_CLOCKTYPE_HCLK|RCC_CLOCKTYPE_SYSCLK
                              |RCC_CLOCKTYPE_PCLK1|RCC_CLOCKTYPE_PCLK2;
  RCC_ClkInitStruct.SYSCLKSource = RCC_SYSCLKSOURCE_HSI;
  RCC_ClkInitStruct.AHBCLKDivider = RCC_SYSCLK_DIV1;
  RCC_ClkInitStruct.APB1CLKDivider = RCC_HCLK_DIV1;
  RCC_ClkInitStruct.APB2CLKDivider = RCC_HCLK_DIV1;

  if (HAL_RCC_ClockConfig(&RCC_ClkInitStruct, FLASH_LATENCY_0) != HAL_OK)
  {
    Error_Handler();
  }
}

static void MX_GPIO_Init(void)
{
  GPIO_InitTypeDef GPIO_InitStruct = {0};

  /* GPIO Ports Clock Enable */
  __HAL_RCC_GPIOA_CLK_ENABLE();
  __HAL_RCC_GPIOB_CLK_ENABLE();

  /*Configure GPIO pin Output Level */
  HAL_GPIO_WritePin(GPIOA, SEG_0_Pin|SEG_1_Pin|SEG_2_Pin|SEG_3_Pin
                          |SEG_4_Pin|LED_RED_Pin|LED_YELLOW_Pin|LED_GREEN_Pin
                          |SEG_5_Pin|SEG_6_Pin|CLOCK_7_Pin|CLOCK_8_Pin
                          |CLOCK_9_Pin|CLOCK_10_Pin|CLOCK_11_Pin|CLOCK_12_Pin, GPIO_PIN_RESET);

  /*Configure GPIO pin Output Level */
  HAL_GPIO_WritePin(GPIOB, LED_RED_1_Pin|LED_YELLOW_1_Pin|LED_GREEN_1_Pin|CLOCK_1_Pin
                          |CLOCK_2_Pin|CLOCK_3_Pin|CLOCK_4_Pin|CLOCK_5_Pin
                          |CLOCK_6_Pin|LED_RED_2_Pin|LED_YELLOW_2_Pin|LED_GREEN_2_Pin
                          |LED_RED_3_Pin|LED_YELLOW_3_Pin|LED_GREEN_3_Pin, GPIO_PIN_RESET);

  /*Configure GPIO pins : SEG_0_Pin SEG_1_Pin SEG_2_Pin SEG_3_Pin
                           SEG_4_Pin LED_RED_Pin LED_YELLOW_Pin LED_GREEN_Pin
                           SEG_5_Pin SEG_6_Pin CLOCK_7_Pin CLOCK_8_Pin
                           CLOCK_9_Pin CLOCK_10_Pin CLOCK_11_Pin CLOCK_12_Pin */
  GPIO_InitStruct.Pin = SEG_0_Pin|SEG_1_Pin|SEG_2_Pin|SEG_3_Pin
                          |SEG_4_Pin|LED_RED_Pin|LED_YELLOW_Pin|LED_GREEN_Pin
                          |SEG_5_Pin|SEG_6_Pin|CLOCK_7_Pin|CLOCK_8_Pin
                          |CLOCK_9_Pin|CLOCK_10_Pin|CLOCK_11_Pin|CLOCK_12_Pin;
  GPIO_InitStruct.Mode = GPIO_MODE_OUTPUT_PP;
  GPIO_InitStruct.Pull = GPIO_NOPULL;
  GPIO_InitStruct.Speed = GPIO_SPEED_FREQ_LOW;
  HAL_GPIO_Init(GPIOA, &GPIO_InitStruct);

  /*Configure GPIO pins : LED_RED_1_Pin LED_YELLOW_1_Pin LED_GREEN_1_Pin CLOCK_1_Pin
                           CLOCK_2_Pin CLOCK_3_Pin CLOCK_4_Pin CLOCK_5_Pin
                           CLOCK_6_Pin LED_RED_2_Pin LED_YELLOW_2_Pin LED_GREEN_2_Pin
                           LED_RED_3_Pin LED_YELLOW_3_Pin LED_GREEN_3_Pin */
  GPIO_InitStruct.Pin = LED_RED_1_Pin|LED_YELLOW_1_Pin|LED_GREEN_1_Pin|CLOCK_1_Pin
                          |CLOCK_2_Pin|CLOCK_3_Pin|CLOCK_4_Pin|CLOCK_5_Pin
                          |CLOCK_6_Pin|LED_RED_2_Pin|LED_YELLOW_2_Pin|LED_GREEN_2_Pin
                          |LED_RED_3_Pin|LED_YELLOW_3_Pin|LED_GREEN_3_Pin;
  GPIO_InitStruct.Mode = GPIO_MODE_OUTPUT_PP;
  GPIO_InitStruct.Pull = GPIO_NOPULL;
  GPIO_InitStruct.Speed = GPIO_SPEED_FREQ_LOW;
  HAL_GPIO_Init(GPIOB, &GPIO_InitStruct);

}

void Error_Handler(void)
{
  __disable_irq();
  while (1)
  {
  }
}

/************************ (C) COPYRIGHT STMicroelectronics *****END OF FILE****/
